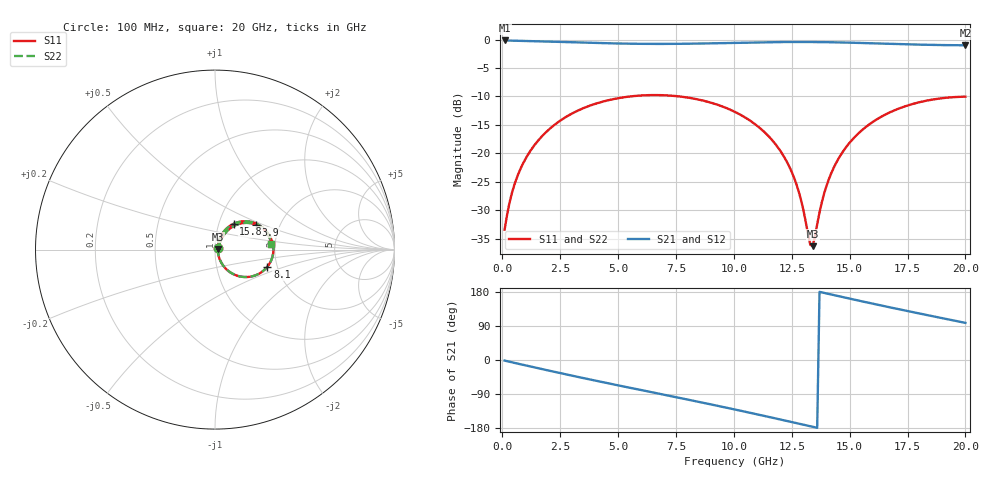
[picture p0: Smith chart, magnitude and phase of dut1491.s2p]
! Touchstone file exported from HFSS 2026.1.0
!  File:  C:/ffzhzh/LocalFiles/Ansys_Project_Files/temp_train_TSV_RDL_1491_1783364366_46376.aedt
!  Generated:  03:09:14 AM Jul  7, 2026
!  Design:  TSV_RDL
!  Project:  temp_train_TSV_RDL_1491_1783364366_46376
! Variables:
!  h_bsmrdl = 3.25um
!  h_ox = 20um
!  h_rdl = 5um
!  h_sub = 85.57um
!  h_tmrdl = 2.4um
!  h_tsv = 85.57um
!  h_via = 3um
!  l_bsmrdl = 699.3um
!  l_sub = 4369.98um
!  l_tmrdl = 424.58um
!  m_sub = 200um
!  pitch = 42.91um
!  r_tsv = 8.39um
!  s_tmrdl = 10um
!  w_bsmrdl = 28.97um
!  w_sub = 500um
!  w_tmrdl = 28.95um
!  x_tsv_center1 = 439.055um
!  x_tsv_center2 = 1167.325um
!  x_tsv_center3 = 1620.855um
!  x_tsv_center4 = 2349.125um
!  x_tsv_center5 = 2802.655um
!  x_tsv_center6 = 3530.925um
# GHz S MA R 50.000000
! Terminal data exported
! Port[1] = TM_RDL1_1_T1
! Port[2] = TM_RDL5_1_T1
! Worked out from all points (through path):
!   200 points, 100 MHz to 20 GHz, reference 50 ohm
!   highest |S21| = -0.16 dB at 100 MHz (marker M1); lowest = -1.0 dB at 20 GHz (marker M2)
!   group delay of S21, straight-line fit = 36.4 ps
!   lowest |S11| = -36.3 dB at 13.4 GHz (marker M3), VSWR 1.03, Z = 51.5 + j0.325 ohm
!   |S11| at or under -10 dB: start of sweep to 5.523 GHz; 7.654 GHz to end of sweep
!   |S22| runs from -36.0 to -9.8 dB; largest |S21 - S12| = 5.9e-14
!   S11 on the Smith chart (normalised r, x): 100 MHz: 1.04, +0.02; 3.9 GHz: 1.51, +0.45; 8.1 GHz: 1.77, -0.37; 15.8 GHz: 1.17, +0.35; 20 GHz: 1.91, +0.13
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0.1  0.02142 27.8  0.9813 -1.5  0.9813 -1.5  0.02142 27.8
! Gamma 0 0 0 0
! Port Impedance 50 0 50 0
0.5  0.05134 56.0  0.9758 -7.3  0.9758 -7.3  0.05134 56.0
1.2  0.1042 58.4  0.9684 -16.9  0.9684 -16.9  0.1042 58.4
2.2  0.1746 50.4  0.9568 -30.5  0.9568 -30.5  0.1746 50.4
3.5  0.2494 36.1  0.9396 -47.7  0.9396 -47.7  0.2494 36.1
3.9  0.2677 31.4  0.9345 -52.9  0.9345 -52.9  0.2677 31.4
5.3  0.312 14.9  0.9204 -70.7  0.9204 -70.7  0.312 15.0
6.8  0.3249 -2.7  0.9149 -89.3  0.9149 -89.3  0.3249 -2.7
8.1  0.3071 -18.1  0.919 -105.6  0.919 -105.6  0.3071 -18.1
10.1  0.2286 -42.0  0.9359 -131.3  0.9359 -131.3  0.2286 -41.9
11.3  0.1553 -55.8  0.9463 -147.4  0.9463 -147.4  0.1552 -55.7
12.2  0.09105 -63.7  0.951 -159.6  0.951 -159.6  0.09105 -63.5
12.8  0.04637 -62.3  0.9519 -167.9  0.9519 -167.9  0.04644 -61.8
13.3  0.0158 -15.8  0.9512 -174.8  0.9512 -174.8  0.01619 -15.1
13.4  0.01532 11.9  0.9508 -176.1  0.9508 -176.1  0.01577 11.8
13.9  0.04442 64.3  0.9484 177.0  0.9484 177.0  0.04465 63.7
14.3  0.07381 67.0  0.9455 171.5  0.9455 171.5  0.07398 66.6
14.9  0.1171 63.5  0.9398 163.3  0.9398 163.3  0.1173 63.2
15.8  0.1768 54.3  0.929 151.3  0.929 151.3  0.1769 54.1
16.7  0.2273 44.0  0.9173 139.5  0.9173 139.5  0.2274 43.9
18.3  0.2899 25.4  0.8991 119.1  0.8991 119.1  0.29 25.2
20  0.3148 5.7  0.8901 98.0  0.8901 98.0  0.3148 5.6
